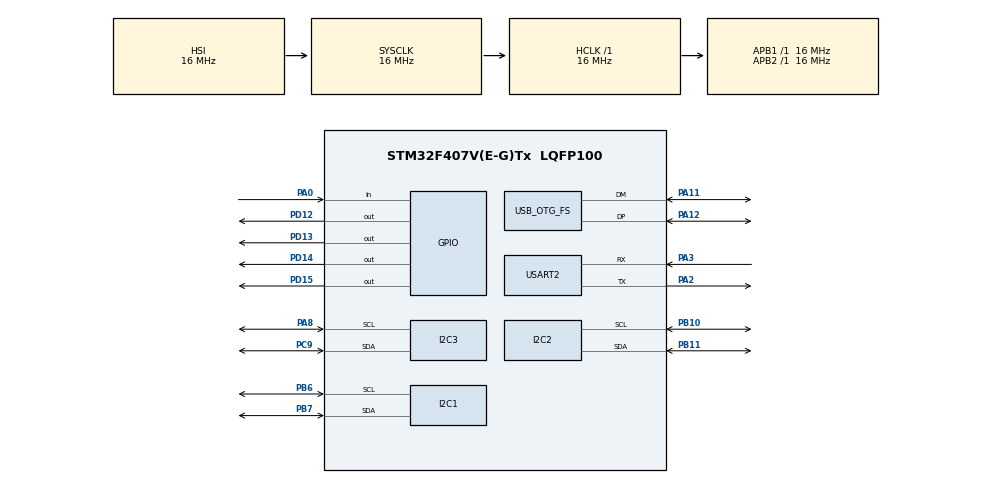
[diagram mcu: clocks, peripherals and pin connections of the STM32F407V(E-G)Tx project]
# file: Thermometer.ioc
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I2C2.I2C_Mode=I2C_Standard
I2C3.I2C_Mode=I2C_Fast
Mcu.Family=STM32F4
Mcu.Name=STM32F407V(E-G)Tx
Mcu.Package=LQFP100
NVIC.OTG_FS_IRQn=true\:0\:0\:false\:false\:true\:false\:true
NVIC.PriorityGroup=NVIC_PRIORITYGROUP_4
NVIC.TIM1_UP_TIM10_IRQn=true\:0\:0\:false\:false\:true\:true\:true
NVIC.USART2_IRQn=true\:0\:0\:false\:false\:true\:true\:true
PA0-WKUP.Signal=GPIO_Input
PA11.Mode=Device_Only
PA11.Signal=USB_OTG_FS_DM
PA12.Mode=Device_Only
PA12.Signal=USB_OTG_FS_DP
PA2.Mode=Asynchronous
PA2.Signal=USART2_TX
PA3.Mode=Asynchronous
PA3.Signal=USART2_RX
PA8.Mode=I2C
PA8.Signal=I2C3_SCL
PB10.Mode=I2C
PB10.Signal=I2C2_SCL
PB11.Mode=I2C
PB11.Signal=I2C2_SDA
PB6.Mode=I2C
PB6.Signal=I2C1_SCL
PB7.Mode=I2C
PB7.Signal=I2C1_SDA
PC9.Mode=I2C
PC9.Signal=I2C3_SDA
PD12.Signal=GPIO_Output
PD13.Signal=GPIO_Output
PD14.Signal=GPIO_Output
PD15.Signal=GPIO_Output
PH0-OSC_IN.Mode=HSE-External-Oscillator
PH0-OSC_IN.Signal=RCC_OSC_IN
PH1-OSC_OUT.Mode=HSE-External-Oscillator
PH1-OSC_OUT.Signal=RCC_OSC_OUT
ProjectManager.HeapSize=0x200
ProjectManager.StackSize=0x400
ProjectManager.TargetToolchain=STM32CubeIDE
RCC.48MHZClocksFreq_Value=48000000
RCC.AHBFreq_Value=16000000
RCC.APB1Freq_Value=16000000
RCC.APB2Freq_Value=16000000
RCC.CortexFreq_Value=16000000
RCC.HSE_VALUE=25000000
RCC.HSI_VALUE=16000000
RCC.LSE_VALUE=32768
RCC.PLLM=15
RCC.PLLN=144
RCC.PLLQ=5
RCC.SYSCLKFreq_VALUE=16000000
RCC.VCOOutputFreq_Value=240000000
TIM1.ClockDivision=TIM_CLOCKDIVISION_DIV4
TIM1.Period=39
TIM1.Prescaler=9999
USART2.VirtualMode=VM_ASYNC
USB_DEVICE.CLASS_NAME_FS=CDC
USB_DEVICE.PRODUCT_STRING_CDC_FS=STM32 Thermometer
USB_DEVICE.VirtualMode-CDC_FS=Cdc
USB_DEVICE.VirtualModeFS=Cdc_FS
USB_OTG_FS.VirtualMode=Device_Only
VP_TIM1_VS_ClockSourceINT.Mode=Internal
VP_USB_DEVICE_VS_USB_DEVICE_CDC_FS.Mode=CDC_FS
board=custom

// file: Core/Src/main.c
/* USER CODE BEGIN Header */
/**
  ******************************************************************************
  * @file           : main.c
  * @brief          : Main program body
  ******************************************************************************
  * @attention
  *
  * <h2><center>&copy; Copyright (c) 2022 STMicroelectronics.
  * All rights reserved.</center></h2>
  *
  * This software component is licensed by ST under BSD 3-Clause license,
  * the "License"; You may not use this file except in compliance with the
  * License. You may obtain a copy of the License at:
  *                        opensource.org/licenses/BSD-3-Clause
  *
  ******************************************************************************
  */
/* USER CODE END Header */
#include "main.h"
#include "usb_device.h"

/* USER CODE BEGIN Includes */
#ifdef USB_SEND
#   include "usb_device.h"
#	include "usbd_cdc_if.h"
#endif
/* USER CODE END Includes */

I2C_HandleTypeDef hi2c1;
I2C_HandleTypeDef hi2c2;
I2C_HandleTypeDef hi2c3;

TIM_HandleTypeDef htim1;

UART_HandleTypeDef huart2;

/* USER CODE BEGIN PV */

uint8_t buffer[64];
#ifdef USB_SEND
uint8_t *message_1 = "Temperature from 1st Sensor: \0";
uint8_t *message_2 = "Temperature from 2nd Sensor: \0";
uint8_t *cap_mess_1 = "Captured temperature from 1st Sensor: \0";
uint8_t *cap_mess_2 = "Captured temperature from 2st Sensor: \0";
uint8_t *end = "\n\0";
#endif

#ifdef MLX90632
uint16_t mlx_addr_1 = 0x3a << 1;
uint16_t mlx_addr_2 = 0x3a << 1;

float float_temp_1 = 0.0;
float float_temp_2 = 0.0;

char char_temp_1[8];
char char_temp_2[8];

float pre_ambient, pre_object, ambient, object;

int32_t
    PR = 0x00587f5b, PG = 0x04a10289, PT = 0xfff966f8, PO = 0x00001e0f,
    Ea = 4859535, Eb = 5686508, Fa = 53855361, Fb = 42874149,
    Ga = -14556410;
int16_t
    Gb = 9728, Ha = 16384, Hb = 0, Ka = 10752,
    ambient_new_raw, ambient_old_raw, object_new_raw, object_old_raw;
#endif

/* USER CODE END PV */

void SystemClock_Config(void);
static void MX_GPIO_Init(void);
static void MX_I2C1_Init(void);
static void MX_I2C2_Init(void);
static void MX_I2C3_Init(void);
static void MX_TIM1_Init(void);
static void MX_USART2_UART_Init(void);

/* USER CODE BEGIN 0 */
#if defined(MLX90614) || defined(MLX90632)
int8_t mlx90614_mode = 0;
int8_t tim_wait_segment = 0;
void HAL_TIM_PeriodElapsedCallback(TIM_HandleTypeDef *htim)
{
	if (htim->Instance == TIM1)
	{
		// Check all time if button is pressed
		if (HAL_GPIO_ReadPin(GPIOA,GPIO_PIN_0))
		{
			// Wait untill time ends
			if (tim_wait_segment == 100)
			{
				// crutch
				if (mlx90614_mode)
					mlx90614_mode = 0;
				else
					mlx90614_mode = 1;

				tim_wait_segment = 0;
			}
			else
			{
				if (tim_wait_segment > 100)
					{
						while (HAL_GPIO_ReadPin(GPIOA,GPIO_PIN_0))
							HAL_Delay(100);
						tim_wait_segment = 0;
					}
				else
				tim_wait_segment++;
			}
		}
		else
		{
			if (tim_wait_segment > 4)
			{
#				ifdef SSD1306_DISPLAY
				float_temp_to_char_temp(float_temp_1, char_temp_1);
				float_temp_to_char_temp(float_temp_2, char_temp_2);

				SSD1306_GotoXY(0, 0);
				SSD1306_Puts(char_temp_1, &Font_11x18, 1);

				SSD1306_GotoXY(70, 0);
				SSD1306_Puts(char_temp_2, &Font_11x18, 1);
#	 		    endif

#			    ifdef USB_SEND
				HAL_UART_Transmit_IT(&huart2, cap_mess_1, strlen(cap_mess_1));
//				HAL_UART_Transmit_IT(&huart2, hello, strlen(hello));

				CDC_Transmit_FS(cap_mess_1, strlen(cap_mess_1));
				CDC_Transmit_FS((uint8_t*)char_temp_1, strlen((uint8_t*)char_temp_1));
				CDC_Transmit_FS(end, strlen(end));

				CDC_Transmit_FS(cap_mess_2, strlen(cap_mess_2));
				CDC_Transmit_FS((uint8_t*)char_temp_2, strlen((uint8_t*)char_temp_2));
				CDC_Transmit_FS(end, strlen(end));
#  		   		endif
			}

			tim_wait_segment = 0;
		}
		HAL_TIM_IRQHandler(&htim1);
	}
}

void float_temp_to_char_temp(double digit, char* arr)
{
    int l_digit = digit * 100.0;
    arr[7] = '\0';
    arr[6] = '\0';
    arr[5] = '\0';
    arr[4] = l_digit % 10 + '0';
    l_digit /= 10;
    arr[3] = l_digit % 10 + '0';
    l_digit /= 10;
    arr[2] = ',';
    arr[1] = l_digit % 10 + '0';
    l_digit /= 10;
    arr[0] = l_digit % 10 + '0';
}
#endif

//#if defined(MLX90632)
static int mlx90632_read_eeprom(int32_t *PR, int32_t *PG, int32_t *PO, int32_t *PT, int32_t *Ea, int32_t *Eb, int32_t *Fa, int32_t *Fb, int32_t *Ga, int16_t *Gb, int16_t *Ha, int16_t *Hb, int16_t *Ka, I2C_HandleTypeDef hi2c)
{
    int32_t ret;
    ret = mlx90632_i2c_read32(MLX90632_EE_P_R, (uint32_t *) PR, hi2c);
    if(ret < 0)
        return ret;
    ret = mlx90632_i2c_read32(MLX90632_EE_P_G, (uint32_t *) PG, hi2c);
    if(ret < 0)
        return ret;
    ret = mlx90632_i2c_read32(MLX90632_EE_P_O, (uint32_t *) PO, hi2c);
    if(ret < 0)
        return ret;
    ret = mlx90632_i2c_read32(MLX90632_EE_P_T, (uint32_t *) PT, hi2c);
    if(ret < 0)
        return ret;
    ret = mlx90632_i2c_read32(MLX90632_EE_Ea, (uint32_t *) Ea, hi2c);
    if(ret < 0)
        return ret;
    ret = mlx90632_i2c_read32(MLX90632_EE_Eb, (uint32_t *) Eb, hi2c);
    if(ret < 0)
        return ret;
    ret = mlx90632_i2c_read32(MLX90632_EE_Fa, (uint32_t *) Fa, hi2c);
    if(ret < 0)
        return ret;
    ret = mlx90632_i2c_read32(MLX90632_EE_Fb, (uint32_t *) Fb, hi2c);
    if(ret < 0)
        return ret;
    ret = mlx90632_i2c_read32(MLX90632_EE_Ga, (uint32_t *) Ga, hi2c);
    if(ret < 0)
        return ret;
    ret = mlx90632_i2c_read(MLX90632_EE_Gb, (uint16_t *) Gb, hi2c);
    if(ret < 0)
        return ret;
    ret = mlx90632_i2c_read(MLX90632_EE_Ha, (uint16_t *) Ha, hi2c);
    if(ret < 0)
        return ret;
    ret = mlx90632_i2c_read(MLX90632_EE_Hb, (uint16_t *) Hb, hi2c);
    if(ret < 0)
        return ret;
    ret = mlx90632_i2c_read(MLX90632_EE_Ka, (uint16_t *) Ka, hi2c);
    if(ret < 0)
        return ret;
    return 0;
}

void mlx90632_start_standard_mode()
{
	HAL_StatusTypeDef result = HAL_I2C_IsDeviceReady(&hi2c1, 0x3a << 1, 1, 100);
	if (result == HAL_OK) {
		HAL_GPIO_TogglePin(GPIOD, GPIO_PIN_12);
		HAL_Delay(1000);
		HAL_GPIO_TogglePin(GPIOD, GPIO_PIN_12);
		HAL_Delay(500);
		HAL_GPIO_TogglePin(GPIOD, GPIO_PIN_12);
		HAL_Delay(1000);
		HAL_GPIO_TogglePin(GPIOD, GPIO_PIN_12);
	} else {
		HAL_GPIO_TogglePin(GPIOD, GPIO_PIN_14);
		HAL_Delay(1000);
		HAL_GPIO_TogglePin(GPIOD, GPIO_PIN_14);
		HAL_Delay(500);
		HAL_GPIO_TogglePin(GPIOD, GPIO_PIN_14);
		HAL_Delay(1000);
		HAL_GPIO_TogglePin(GPIOD, GPIO_PIN_14);
	}

//	mlx90632_set_meas_type(MLX90632_MTYP_MEDICAL, hi2c1);

    mlx90632_read_eeprom(&PR, &PG, &PO, &PT, &Ea, &Eb, &Fa, &Fb, &Ga, &Gb, &Ha, &Hb, &Ka, hi2c1);

#ifdef SSD1306_DISPLAY
    SSD1306_Clear();
#endif

    while(1)
    {
    	// TODO: hhh

        mlx90632_read_temp_raw(&ambient_new_raw, &ambient_old_raw, &object_new_raw, &object_old_raw, hi2c1);

        pre_ambient = mlx90632_preprocess_temp_ambient(ambient_new_raw, ambient_old_raw, Gb);
        pre_object = mlx90632_preprocess_temp_object(object_new_raw, object_old_raw, ambient_new_raw, ambient_old_raw, Ka);

        mlx90632_set_emissivity(1);

        ambient = mlx90632_calc_temp_ambient(ambient_new_raw, ambient_old_raw, PT, PR, PG, PO, Gb);
        object = mlx90632_calc_temp_object(pre_object, pre_ambient, Ea, Eb, Ga, Fa, Fb, Ha, Hb);

        float_temp_1 = object;
        float_temp_to_char_temp(float_temp_1, char_temp_1);

        if(HAL_GPIO_ReadPin(GPIOA, GPIO_PIN_0)==GPIO_PIN_SET)
        {
#	        ifdef SSD1306_DISPLAY
            SSD1306_GotoXY(0, 0);
            SSD1306_Puts(char_temp_1, &Font_11x18, 1);

            SSD1306_GotoXY(70, 0);
            SSD1306_Puts(char_temp_2, &Font_11x18, 1);
#	        endif

#		    ifdef USB_SEND
            CDC_Transmit_FS(cap_mess_1, strlen(cap_mess_1));
            CDC_Transmit_FS((uint8_t*)char_temp_1, strlen((uint8_t*)char_temp_1));
            CDC_Transmit_FS(end, strlen(end));

            CDC_Transmit_FS(cap_mess_2, strlen(cap_mess_2));
            CDC_Transmit_FS((uint8_t*)char_temp_2, strlen((uint8_t*)char_temp_2));
            CDC_Transmit_FS(end, strlen(end));
#  		    endif
        }

#       ifdef SSD1306_DISPLAY
        SSD1306_GotoXY(0, 29);
        SSD1306_Puts(char_temp_1, &Font_11x18, 1);

        SSD1306_GotoXY(70, 29);
        SSD1306_Puts(char_temp_2, &Font_11x18, 1);

        SSD1306_UpdateScreen();
#       endif

#	    ifdef USB_SEND
        CDC_Transmit_FS(message_1, strlen(message_1));
        CDC_Transmit_FS((uint8_t*)char_temp_1, strlen((uint8_t*)char_temp_1));
        CDC_Transmit_FS(end, strlen(end));

        CDC_Transmit_FS(message_2, strlen(message_2));
        CDC_Transmit_FS((uint8_t*)char_temp_2, strlen((uint8_t*)char_temp_2));
        CDC_Transmit_FS(end, strlen(end));
#	    endif
    }
}

void mlx90632_start_extended_mode()
{
#   ifdef SSD1306_DISPLAY
    SSD1306_Clear();
#   endif

	HAL_StatusTypeDef result = HAL_I2C_IsDeviceReady(&hi2c2, 0x3a << 1, 1, 100);

	if (result == HAL_OK) {
		HAL_GPIO_TogglePin(GPIOD, GPIO_PIN_12);
		HAL_Delay(1000);
		HAL_GPIO_TogglePin(GPIOD, GPIO_PIN_12);
		HAL_Delay(500);
		HAL_GPIO_TogglePin(GPIOD, GPIO_PIN_12);
		HAL_Delay(1000);
		HAL_GPIO_TogglePin(GPIOD, GPIO_PIN_12);
	} else {
		HAL_GPIO_TogglePin(GPIOD, GPIO_PIN_14);
		HAL_Delay(1000);
		HAL_GPIO_TogglePin(GPIOD, GPIO_PIN_14);
		HAL_Delay(500);
		HAL_GPIO_TogglePin(GPIOD, GPIO_PIN_14);
		HAL_Delay(1000);
		HAL_GPIO_TogglePin(GPIOD, GPIO_PIN_14);
	}

    mlx90632_set_meas_type(MLX90632_MTYP_EXTENDED, hi2c2);

    mlx90632_read_eeprom(&PR, &PG, &PO, &PT, &Ea, &Eb, &Fa, &Fb, &Ga, &Gb, &Ha, &Hb, &Ka, hi2c2);

    while(!mlx90614_mode)
    {

    	mlx90632_set_emissivity(0.85);

    	mlx90632_read_temp_raw_extended(&ambient_new_raw, &ambient_old_raw, &object_new_raw, hi2c2);

        ambient = mlx90632_calc_temp_ambient_extended(ambient_new_raw, ambient_old_raw,
                                                      PT, PR, PG, PO, Gb);

        pre_ambient = mlx90632_preprocess_temp_ambient_extended(ambient_new_raw,
                                                                       ambient_old_raw, Gb);
        pre_object = mlx90632_preprocess_temp_object_extended(object_new_raw, ambient_new_raw,
                                                                     ambient_old_raw, Ka);

        object = mlx90632_calc_temp_object_extended(pre_object, pre_ambient, ambient, Ea, Eb, Ga, Fa, Fb, Ha, Hb);

        float_temp_1 = object;
        float_temp_2 = mlx90632_temp_compensation(float_temp_1);

		float_temp_to_char_temp(float_temp_1, char_temp_1);
		float_temp_to_char_temp(float_temp_2, char_temp_2);

#       ifdef SSD1306_DISPLAY
        SSD1306_GotoXY(0, 29);
        SSD1306_Puts(char_temp_1, &Font_11x18, 1);

        SSD1306_GotoXY(57, 29);
        SSD1306_Puts("A", &Font_7x10, 1);

        SSD1306_GotoXY(70, 29);
        SSD1306_Puts(char_temp_2, &Font_11x18, 1);

        SSD1306_UpdateScreen();
#       endif
    }
}

void mlx90632_start_extended_burst_mode()
{
	HAL_StatusTypeDef result = HAL_I2C_IsDeviceReady(&hi2c1, 0x3a << 1, 1, 100);
	if (result == HAL_OK) {
		HAL_GPIO_TogglePin(GPIOD, GPIO_PIN_12);
		HAL_Delay(1000);
		HAL_GPIO_TogglePin(GPIOD, GPIO_PIN_12);
		HAL_Delay(500);
		HAL_GPIO_TogglePin(GPIOD, GPIO_PIN_12);
		HAL_Delay(1000);
		HAL_GPIO_TogglePin(GPIOD, GPIO_PIN_12);
	} else {
		HAL_GPIO_TogglePin(GPIOD, GPIO_PIN_14);
		HAL_Delay(1000);
		HAL_GPIO_TogglePin(GPIOD, GPIO_PIN_14);
		HAL_Delay(500);
		HAL_GPIO_TogglePin(GPIOD, GPIO_PIN_14);
		HAL_Delay(1000);
		HAL_GPIO_TogglePin(GPIOD, GPIO_PIN_14);
	}

    mlx90632_set_meas_type(MLX90632_MTYP_EXTENDED_BURST, hi2c1);

    mlx90632_read_eeprom(&PR, &PG, &PO, &PT, &Ea, &Eb, &Fa, &Fb, &Ga, &Gb, &Ha, &Hb, &Ka, hi2c1);

    while(1)
    {
    	mlx90632_set_emissivity(1);

        mlx90632_read_temp_raw_extended_burst(&ambient_new_raw, &ambient_old_raw, &object_new_raw, hi2c1);

        ambient = mlx90632_calc_temp_ambient_extended(ambient_new_raw, ambient_old_raw,
                                                      PT, PR, PG, PO, Gb);

        pre_ambient = mlx90632_preprocess_temp_ambient_extended(ambient_new_raw,
                                                                       ambient_old_raw, Gb);
        pre_object = mlx90632_preprocess_temp_object_extended(object_new_raw, ambient_new_raw,
                                                                     ambient_old_raw, Ka);

        object = mlx90632_calc_temp_object_extended(pre_object, pre_ambient, ambient, Ea, Eb, Ga, Fa, Fb, Ha, Hb);

        float_temp_1 = object;
        float_temp_to_char_temp(float_temp_1, char_temp_1);

        if(HAL_GPIO_ReadPin(GPIOA, GPIO_PIN_0)==GPIO_PIN_SET)
        {
#	        ifdef SSD1306_DISPLAY
            SSD1306_GotoXY(0, 0);
            SSD1306_Puts(char_temp_1, &Font_11x18, 1);

            SSD1306_GotoXY(70, 0);
            SSD1306_Puts(char_temp_2, &Font_11x18, 1);
#	        endif

#		    ifdef USB_SEND
            CDC_Transmit_FS(cap_mess_1, strlen(cap_mess_1));
            CDC_Transmit_FS((uint8_t*)char_temp_1, strlen((uint8_t*)char_temp_1));
            CDC_Transmit_FS(end, strlen(end));

            CDC_Transmit_FS(cap_mess_2, strlen(cap_mess_2));
            CDC_Transmit_FS((uint8_t*)char_temp_2, strlen((uint8_t*)char_temp_2));
            CDC_Transmit_FS(end, strlen(end));
#  		    endif
        }

#       ifdef SSD1306_DISPLAY
        SSD1306_GotoXY(0, 29);
        SSD1306_Puts(char_temp_1, &Font_11x18, 1);

        SSD1306_GotoXY(70, 29);
        SSD1306_Puts(char_temp_2, &Font_11x18, 1);

        SSD1306_UpdateScreen();
#       endif
    }
}
//#elif defined(MLX90614)
void mlx90614_start_standard_mode()
{
    uint16_t mlx_addr_1 = device_scanner(hi2c1);
    uint16_t mlx_addr_2 = device_scanner(hi2c2);

//    float float_temp_1 = 0.0;
//    float float_temp_2 = 0.0;
//
//    char char_temp_1[8];
//    char char_temp_2[8];

#   ifdef SSD1306_DISPLAY
    SSD1306_Clear();
#   endif

    while(mlx90614_mode)
    {
        float_temp_1 = MLX90614_ReadTemp(mlx_addr_1, MLX90614_TOBJ1, hi2c1);
        float_temp_1 = MLX90614_temp_compensation(float_temp_1);
        float_temp_2 = MLX90614_ReadTemp(mlx_addr_2, MLX90614_TOBJ1, hi2c2);

		float_temp_to_char_temp(float_temp_1, char_temp_1);
		float_temp_to_char_temp(float_temp_2, char_temp_2);

#       ifdef SSD1306_DISPLAY
        SSD1306_GotoXY(0, 29);
        SSD1306_Puts(char_temp_1, &Font_11x18, 1);

        SSD1306_GotoXY(57, 29);
        SSD1306_Puts("B", &Font_7x10, 1);

        SSD1306_GotoXY(70, 29);
        SSD1306_Puts(char_temp_2, &Font_11x18, 1);

        SSD1306_UpdateScreen();
#       endif

#	    ifdef USB_SEND
        CDC_Transmit_FS(message_1, strlen(message_1));
        CDC_Transmit_FS((uint8_t*)char_temp_1, strlen((uint8_t*)char_temp_1));
        CDC_Transmit_FS(end, strlen(end));

        CDC_Transmit_FS(message_2, strlen(message_2));
        CDC_Transmit_FS((uint8_t*)char_temp_2, strlen((uint8_t*)char_temp_2));
        CDC_Transmit_FS(end, strlen(end));
#	    endif

	// HAL_Delay(10);
    }
}
//#endif

/* USER CODE END 0 */

int main(void)
{

  /* MCU Configuration--------------------------------------------------------*/

  /* Reset of all peripherals, Initializes the Flash interface and the Systick. */
  HAL_Init();

  /* Configure the system clock */
  SystemClock_Config();

  /* Initialize all configured peripherals */
  MX_GPIO_Init();
  MX_I2C1_Init();
  MX_I2C2_Init();
  MX_USB_DEVICE_Init();
  MX_I2C3_Init();
  MX_TIM1_Init();
  MX_USART2_UART_Init();
  /* USER CODE BEGIN 2 */

    /**
     * 12 - green, 13 - orange, 14 - red, 15 - blue
     *
     * Display 10x12 - 10 to right, 12 to below
     *
     * Temp sensor 1 - I2C1, temp sensor 2 - I2C2, Display - I2C3
     */

  // Initialize Display
#ifdef SSD1306_DISPLAY
    if (SSD1306_Init(hi2c3) != 1)
    {
        HAL_GPIO_TogglePin(GPIOD, GPIO_PIN_14);
        HAL_Delay(1000);
        HAL_GPIO_TogglePin(GPIOD, GPIO_PIN_14);
    }

    SSD1306_GotoXY (0,0);
    SSD1306_Puts ("initialize", &Font_11x18, 1);
    SSD1306_UpdateScreen();
#endif

  /* USER CODE END 2 */

  /* Infinite loop */
  /* USER CODE BEGIN WHILE */

#ifdef MLX90614_FLASH_MODE
    mlx90614_flash(mlx_addr_1, MLX90614_EMISSIVITY, 0xF332, hi2c1);
#elif defined(MLX90632_FLASH_MODE)

#endif

#if defined(MLX90614_DEBUG_MODE)
    mlx90614_start_debugging(mlx_addr_1, hi2c1);
#elif defined(MLX90632_DEBUG_MODE)
    mlx90632_start_debugging(mlx_addr_1, hi2c1);
#endif

    HAL_TIM_Base_Start_IT(&htim1);

    char* hello = "Hello world!\n\0";

   cJSON* root = cJSON_CreateObject();
   cJSON_AddStringToObject(root, "name", "Hello world");
   char* string = cJSON_PrintUnformatted(root);

    // main cycle
    while(1)
    {
//    	HAL_UART_Transmit(&huart2, hello, strlen(hello), 100);
    	HAL_UART_Transmit_IT(&huart2, string, strlen(string) + 1);
//    	HAL_UART_Transmit_IT(&huart2, hello, strlen(hello) + 1);
    	HAL_Delay(100);
//		if (mlx90614_mode)
//			mlx90614_start_standard_mode();
//		else
//			mlx90632_start_extended_mode();
    }

//#if defined(MLX90614)
//    mlx90614_start_standard_mode();
//#elif defined(MLX90632)
////    mlx90632_start_standard_mode();
//    mlx90632_start_extended_mode();
////    mlx90632_start_extended_burst_mode();
//#endif

    /* USER CODE END WHILE */

}

void SystemClock_Config(void)
{
  RCC_OscInitTypeDef RCC_OscInitStruct = {0};
  RCC_ClkInitTypeDef RCC_ClkInitStruct = {0};

  /** Configure the main internal regulator output voltage
  */
  __HAL_RCC_PWR_CLK_ENABLE();
  __HAL_PWR_VOLTAGESCALING_CONFIG(PWR_REGULATOR_VOLTAGE_SCALE1);
  /** Initializes the RCC Oscillators according to the specified parameters
  * in the RCC_OscInitTypeDef structure.
  */
  RCC_OscInitStruct.OscillatorType = RCC_OSCILLATORTYPE_HSI|RCC_OSCILLATORTYPE_HSE;
  RCC_OscInitStruct.HSEState = RCC_HSE_ON;
  RCC_OscInitStruct.HSIState = RCC_HSI_ON;
  RCC_OscInitStruct.HSICalibrationValue = RCC_HSICALIBRATION_DEFAULT;
  RCC_OscInitStruct.PLL.PLLState = RCC_PLL_ON;
  RCC_OscInitStruct.PLL.PLLSource = RCC_PLLSOURCE_HSE;
  RCC_OscInitStruct.PLL.PLLM = 15;
  RCC_OscInitStruct.PLL.PLLN = 144;
  RCC_OscInitStruct.PLL.PLLP = RCC_PLLP_DIV2;
  RCC_OscInitStruct.PLL.PLLQ = 5;
  if (HAL_RCC_OscConfig(&RCC_OscInitStruct) != HAL_OK)
  {
    Error_Handler();
  }
  /** Initializes the CPU, AHB and APB buses clocks
  */
  RCC_ClkInitStruct.ClockType = RCC_CLOCKTYPE_HCLK|RCC_CLOCKTYPE_SYSCLK
                              |RCC_CLOCKTYPE_PCLK1|RCC_CLOCKTYPE_PCLK2;
  RCC_ClkInitStruct.SYSCLKSource = RCC_SYSCLKSOURCE_HSI;
  RCC_ClkInitStruct.AHBCLKDivider = RCC_SYSCLK_DIV1;
  RCC_ClkInitStruct.APB1CLKDivider = RCC_HCLK_DIV1;
  RCC_ClkInitStruct.APB2CLKDivider = RCC_HCLK_DIV1;

  if (HAL_RCC_ClockConfig(&RCC_ClkInitStruct, FLASH_LATENCY_0) != HAL_OK)
  {
    Error_Handler();
  }
}

static void MX_I2C1_Init(void)
{

  hi2c1.Instance = I2C1;
  hi2c1.Init.ClockSpeed = 100000;
  hi2c1.Init.DutyCycle = I2C_DUTYCYCLE_2;
  hi2c1.Init.OwnAddress1 = 0;
  hi2c1.Init.AddressingMode = I2C_ADDRESSINGMODE_7BIT;
  hi2c1.Init.DualAddressMode = I2C_DUALADDRESS_DISABLE;
  hi2c1.Init.OwnAddress2 = 0;
  hi2c1.Init.GeneralCallMode = I2C_GENERALCALL_DISABLE;
  hi2c1.Init.NoStretchMode = I2C_NOSTRETCH_DISABLE;
  if (HAL_I2C_Init(&hi2c1) != HAL_OK)
  {
    Error_Handler();
  }

}

static void MX_I2C2_Init(void)
{

  hi2c2.Instance = I2C2;
  hi2c2.Init.ClockSpeed = 100000;
  hi2c2.Init.DutyCycle = I2C_DUTYCYCLE_2;
  hi2c2.Init.OwnAddress1 = 0;
  hi2c2.Init.AddressingMode = I2C_ADDRESSINGMODE_7BIT;
  hi2c2.Init.DualAddressMode = I2C_DUALADDRESS_DISABLE;
  hi2c2.Init.OwnAddress2 = 0;
  hi2c2.Init.GeneralCallMode = I2C_GENERALCALL_DISABLE;
  hi2c2.Init.NoStretchMode = I2C_NOSTRETCH_DISABLE;
  if (HAL_I2C_Init(&hi2c2) != HAL_OK)
  {
    Error_Handler();
  }

}

static void MX_I2C3_Init(void)
{

  hi2c3.Instance = I2C3;
  hi2c3.Init.ClockSpeed = 400000;
  hi2c3.Init.DutyCycle = I2C_DUTYCYCLE_2;
  hi2c3.Init.OwnAddress1 = 0;
  hi2c3.Init.AddressingMode = I2C_ADDRESSINGMODE_7BIT;
  hi2c3.Init.DualAddressMode = I2C_DUALADDRESS_DISABLE;
  hi2c3.Init.OwnAddress2 = 0;
  hi2c3.Init.GeneralCallMode = I2C_GENERALCALL_DISABLE;
  hi2c3.Init.NoStretchMode = I2C_NOSTRETCH_DISABLE;
  if (HAL_I2C_Init(&hi2c3) != HAL_OK)
  {
    Error_Handler();
  }

}

static void MX_TIM1_Init(void)
{

  TIM_ClockConfigTypeDef sClockSourceConfig = {0};
  TIM_MasterConfigTypeDef sMasterConfig = {0};

  htim1.Instance = TIM1;
  htim1.Init.Prescaler = 9999;
  htim1.Init.CounterMode = TIM_COUNTERMODE_UP;
  htim1.Init.Period = 39;
  htim1.Init.ClockDivision = TIM_CLOCKDIVISION_DIV4;
  htim1.Init.RepetitionCounter = 0;
  htim1.Init.AutoReloadPreload = TIM_AUTORELOAD_PRELOAD_DISABLE;
  if (HAL_TIM_Base_Init(&htim1) != HAL_OK)
  {
    Error_Handler();
  }
  sClockSourceConfig.ClockSource = TIM_CLOCKSOURCE_INTERNAL;
  if (HAL_TIM_ConfigClockSource(&htim1, &sClockSourceConfig) != HAL_OK)
  {
    Error_Handler();
  }
  sMasterConfig.MasterOutputTrigger = TIM_TRGO_RESET;
  sMasterConfig.MasterSlaveMode = TIM_MASTERSLAVEMODE_DISABLE;
  if (HAL_TIMEx_MasterConfigSynchronization(&htim1, &sMasterConfig) != HAL_OK)
  {
    Error_Handler();
  }

}

static void MX_USART2_UART_Init(void)
{

  huart2.Instance = USART2;
  huart2.Init.BaudRate = 115200;
  huart2.Init.WordLength = UART_WORDLENGTH_8B;
  huart2.Init.StopBits = UART_STOPBITS_1;
  huart2.Init.Parity = UART_PARITY_NONE;
  huart2.Init.Mode = UART_MODE_TX_RX;
  huart2.Init.HwFlowCtl = UART_HWCONTROL_NONE;
  huart2.Init.OverSampling = UART_OVERSAMPLING_16;
  if (HAL_UART_Init(&huart2) != HAL_OK)
  {
    Error_Handler();
  }

}

static void MX_GPIO_Init(void)
{
  GPIO_InitTypeDef GPIO_InitStruct = {0};

  /* GPIO Ports Clock Enable */
  __HAL_RCC_GPIOH_CLK_ENABLE();
  __HAL_RCC_GPIOA_CLK_ENABLE();
  __HAL_RCC_GPIOB_CLK_ENABLE();
  __HAL_RCC_GPIOD_CLK_ENABLE();
  __HAL_RCC_GPIOC_CLK_ENABLE();

  /*Configure GPIO pin Output Level */
  HAL_GPIO_WritePin(GPIOD, GPIO_PIN_12|GPIO_PIN_13|GPIO_PIN_14|GPIO_PIN_15, GPIO_PIN_RESET);

  /*Configure GPIO pin : PA0 */
  GPIO_InitStruct.Pin = GPIO_PIN_0;
  GPIO_InitStruct.Mode = GPIO_MODE_INPUT;
  GPIO_InitStruct.Pull = GPIO_NOPULL;
  HAL_GPIO_Init(GPIOA, &GPIO_InitStruct);

  /*Configure GPIO pins : PD12 PD13 PD14 PD15 */
  GPIO_InitStruct.Pin = GPIO_PIN_12|GPIO_PIN_13|GPIO_PIN_14|GPIO_PIN_15;
  GPIO_InitStruct.Mode = GPIO_MODE_OUTPUT_PP;
  GPIO_InitStruct.Pull = GPIO_NOPULL;
  GPIO_InitStruct.Speed = GPIO_SPEED_FREQ_LOW;
  HAL_GPIO_Init(GPIOD, &GPIO_InitStruct);

}

void Error_Handler(void)
{
  __disable_irq();
  while (1)
  {
  }
}

/************************ (C) COPYRIGHT STMicroelectronics *****END OF FILE****/
